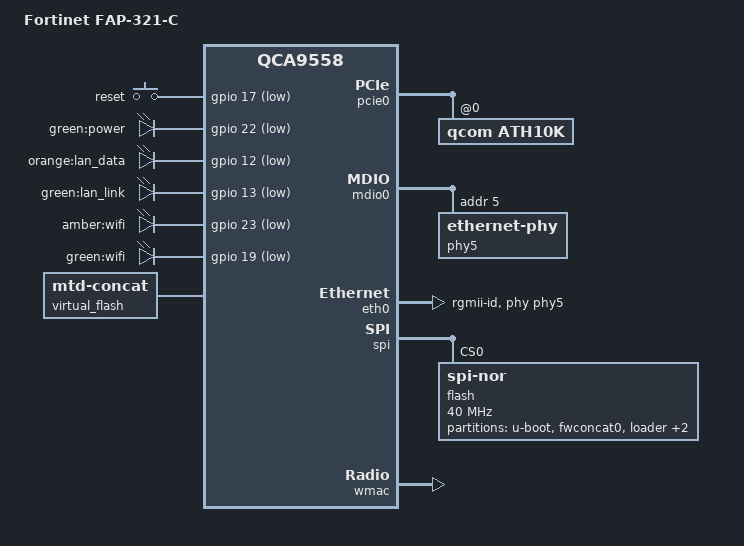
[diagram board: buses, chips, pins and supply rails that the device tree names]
// SPDX-License-Identifier: GPL-2.0-or-later OR MIT

#include "qca955x.dtsi"
#include <dt-bindings/mtd/partitions/uimage.h>
#include <dt-bindings/gpio/gpio.h>
#include <dt-bindings/input/input.h>

/ {
	compatible = "fortinet,fap-321-c", "qca,qca9558";
	model = "Fortinet FAP-321-C";

	aliases {
		label-mac-device = &eth0;
		led-boot = &led_power;
		led-failsafe = &led_power;
		led-running = &led_power;
		led-upgrade = &led_power;
	};

	chosen {
		bootargs = "console=ttyS0,9600";
	};
	
	keys {
		compatible = "gpio-keys";

		reset {
			label = "reset";
			gpios = <&gpio 17 GPIO_ACTIVE_LOW>;
			debounce-interval = <60>;
			linux,code = <KEY_RESTART>;
		};
	};

	leds {
		compatible = "gpio-leds";

		led_power: power_green {
			label = "green:power";
			gpios = <&gpio 22 GPIO_ACTIVE_LOW>;
			default-state = "on";
		};

		lan_data {
			label = "orange:lan_data";
			gpios = <&gpio 12 GPIO_ACTIVE_LOW>;
		};

		lan_link {
			label = "green:lan_link";
			gpios = <&gpio 13 GPIO_ACTIVE_LOW>;
		};

		wifi_amber {
			label = "amber:wifi";
			gpios = <&gpio 23 GPIO_ACTIVE_LOW>;
			linux,default-trigger = "phy1tpt";
		};

		wifi_green {
			label = "green:wifi";
			gpios = <&gpio 19 GPIO_ACTIVE_LOW>;
			linux,default-trigger = "phy0tpt";
		};
	};

	virtual_flash {
		compatible = "mtd-concat";
		devices = <&fwconcat0 &fwconcat1>;
		partitions {
			compatible = "fixed-partitions";
			#address-cells = <1>;
			#size-cells = <1>;

			partition@0 {
				compatible = "openwrt,uimage", "denx,uimage";
				openwrt,ih-magic = <0x73714f4b>;
				label = "firmware";
				reg = <0x0 0x0>;
			};
		};
	};
};

&pcie0 {
        status = "okay";

        ath10k: wifi@0,0,0 {
                compatible = "qcom,ath10k";
                reg = <0x0 0 0 0 0>;
        };
};

&mdio0 {
	status = "okay";

	phy5: ethernet-phy@5 {
		reg = <5>;
		eee-broken-100tx;
		eee-broken-1000t;
	};
};

&eth0 {
	status = "okay";

	phy-handle = <&phy5>;
	phy-mode = "rgmii-id";

	pll-data = <0x82000000 0x80000101 0x80001313>;
};


&spi {
	status = "okay";

	flash@0 {
		compatible = "jedec,spi-nor";
		reg = <0>;
		spi-max-frequency = <40000000>;

		partitions {
			compatible = "fixed-partitions";
			#address-cells = <1>;
			#size-cells = <1>;

			partition@0 {
				label = "u-boot";
				reg = <0x000000 0x040000>;
				read-only;
			};

			fwconcat0: partition@40000 {
				label = "fwconcat0";
				reg = <0x040000 0x1400000>;
			};

			partition@1440000 {
				label = "loader";
				reg = <0x1440000 0x400000>;
			};

			fwconcat1: partition@1840000 {
				label = "reserved";
				reg = <0x1840000 0x7B0000>;
			};

			art: partition@1ff0000 {
				label = "art";
				reg = <0x1ff0000 0x010000>;
				read-only;
			};
		};
	};
};

&wmac {
	status = "okay";

	mtd-cal-data = <&art 0x1000>;

	nvmem-cells = <&macaddr_art_0>;
	nvmem-cell-names = "mac-address";
	mac-address-increment = <1>;
};

&art {
	compatible = "nvmem-cells";
	#address-cells = <1>;
	#size-cells = <1>;

	macaddr_art_0: macaddr@0 {
		reg = <0x0 0x6>;
	};
};

&wdt {
	status = "disabled";
};
